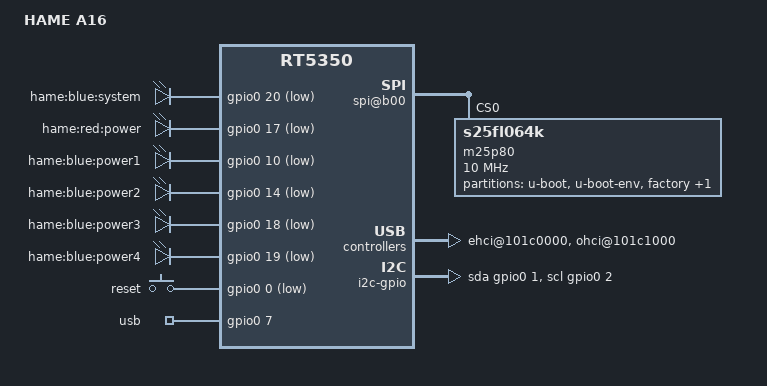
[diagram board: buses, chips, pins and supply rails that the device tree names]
/dts-v1/;

/include/ "rt5350.dtsi"

/ {
	compatible = "A16", "ralink,rt5350-soc";
	model = "HAME A16";

	palmbus@10000000 {
		spi@b00 {
			status = "okay";
			m25p80@0 {
				#address-cells = <1>;
				#size-cells = <1>;
				compatible = "s25fl064k";
				reg = <0 0>;
				linux,modalias = "m25p80", "s25fl064k";
				spi-max-frequency = <10000000>;

				partition@0 {
					label = "u-boot";
					reg = <0x0 0x30000>;
					read-only;
				};

				partition@30000 {
					label = "u-boot-env";
					reg = <0x30000 0x10000>;
					read-only;
				};

				factory: partition@40000 {
					label = "factory";
					reg = <0x40000 0x10000>;
					read-only;
				};

				partition@50000 {
					label = "firmware";
					reg = <0x50000 0x7b0000>;
				};
			};
		};
		gpio1: gpio@660 {
			status = "okay";
		};
	};

	pinctrl {
		state_default: pinctrl0 {
			gpio {
				ralink,group = "i2c", "jtag", "rgmii", "mdio", "uartf", "led";
				ralink,function = "gpio";
			};
		};
	};

	ethernet@10100000 {
		mtd-mac-address = <&factory 0x4>;
	};

	esw@10110000 {
		ralink,portmap = <0x2f>;
	};

	wmac@10180000 {
		ralink,mtd-eeprom = <&factory 0>;
	};

	ehci@101c0000 {
		status = "okay";
	};

	ohci@101c1000 {
		status = "okay";
	};

	i2c-gpio {
		compatible = "i2c-gpio";

		gpios = <&gpio0 1 0 &gpio0 2 0>;
		i2c-gpio,delay-us = <10>;
	};

	gpio-leds {
		compatible = "gpio-leds";
		system {
			label = "hame:blue:system";
			gpios = <&gpio0 20 1>;
		};
		power {
			label = "hame:red:power";
			gpios = <&gpio0 17 1>;
		};
		power1 {
			label = "hame:blue:power1";
			gpios = <&gpio0 10 1>;
		};
		power2 {
			label = "hame:blue:power2";
			gpios = <&gpio0 14 1>;
		};
		power3 {
			label = "hame:blue:power3";
			gpios = <&gpio0 18 1>;
		};
		power4 {
			label = "hame:blue:power4";
			gpios = <&gpio0 19 1>;
		};
	};

	gpio-keys-polled {
		compatible = "gpio-keys-polled";
		#address-cells = <1>;
		#size-cells = <0>;
		poll-interval = <20>;
		wps {
			label = "reset";
			gpios = <&gpio0 0 1>;
			linux,code = <0x198>;
		};
	};

	gpio_export {
		compatible = "gpio-export";
		#size-cells = <0>;

		usb {
			gpio-export,name = "usb";
			gpio-export,output = <1>;
			gpios = <&gpio0 7 0>;
		};
	};
};

